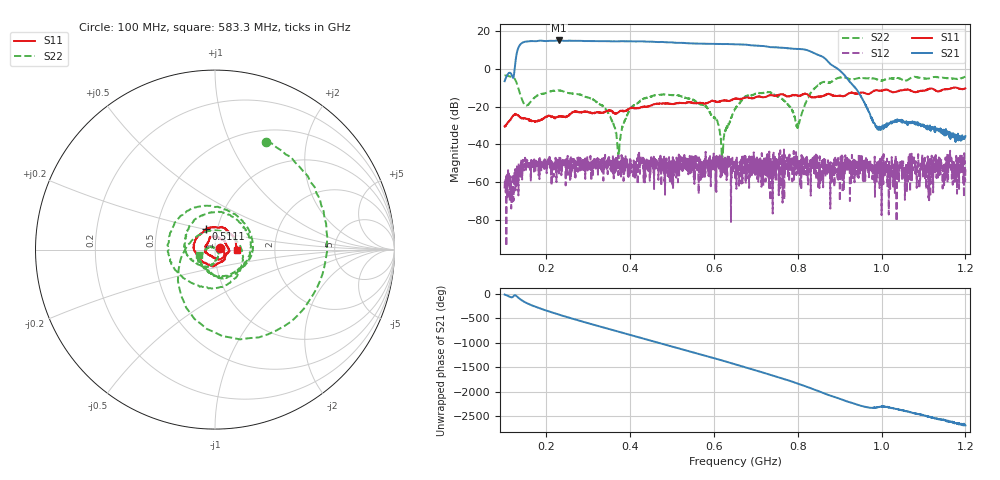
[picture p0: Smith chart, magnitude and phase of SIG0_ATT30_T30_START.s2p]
# Hz S DB R 50
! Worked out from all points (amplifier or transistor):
!   1601 points, 100 MHz to 1.2 GHz, reference 50 ohm
!   highest |S21| = 15.1 dB at 229.9 MHz (marker M1)
!   |S21| within 3 dB of that: 134.6 MHz to 720 MHz (585.4 MHz wide, 137 % of centre)
!   unconditionally stable (mu >= 1): start of sweep to end of sweep
!   at 282.9 MHz: K = 25.63, MAG = 15.0 dB, |S12| = -49.4 dB
!   at 650 MHz: K = 38.26, MAG = 13.2 dB, |S12| = -51.0 dB
!   at 1.2 GHz: K = 7571.83, MAG = -33.0 dB, |S12| = -53.1 dB
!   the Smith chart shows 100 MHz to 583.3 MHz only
!   S11 on the Smith chart (normalised r, x): 100 MHz: 1.06, +0.02; 511.1 MHz: 0.88, +0.21; 583.3 MHz: 1.28, -0.01
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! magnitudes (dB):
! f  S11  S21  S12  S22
! 100 MHz  -30.4  -6.5  -63.3  -3.6
! 119.9 MHz  -24.7  -4.7  -55.7  -4.5
! 141.2 MHz  -26.0  13.7  -51.1  -15.9
! 229.9 MHz  -25.3  15.1  -55.4  -11.4
! 283.6 MHz  -23.2  14.8  -53.5  -13.8
! 339.9 MHz  -22.6  14.7  -45.5  -20.8
! 372.2 MHz  -22.8  14.6  -56.2  -45.3
! 402.5 MHz  -20.5  14.6  -53.4  -20.5
! 467.1 MHz  -18.6  14.2  -58.8  -13.9
! 511.1 MHz  -18.1  13.8  -53.9  -13.9
! 583.3 MHz  -18.1  13.3  -51.0  -20.8
! 606.7 MHz  -17.6  13.2  -51.9  -27.1
! 619.8 MHz  -16.8  13.1  -54.2  -47.0
! 650 MHz  -15.7  13.0  -51.0  -21.3
! 731.8 MHz  -14.0  11.6  -43.8  -12.3
! 778.6 MHz  -14.7  11.0  -46.3  -19.5
! 799.9 MHz  -14.2  10.5  -56.0  -30.0
! 833.6 MHz  -15.1  8.9  -50.0  -11.9
! 911.2 MHz  -14.2  -3.2  -55.7  -4.5
! 989.6 MHz  -11.3  -31.8  -49.4  -5.7
! 1.017 GHz  -11.5  -28.8  -77.1  -5.1
! 1.2 GHz  -10.3  -35.6  -53.1  -4.1
